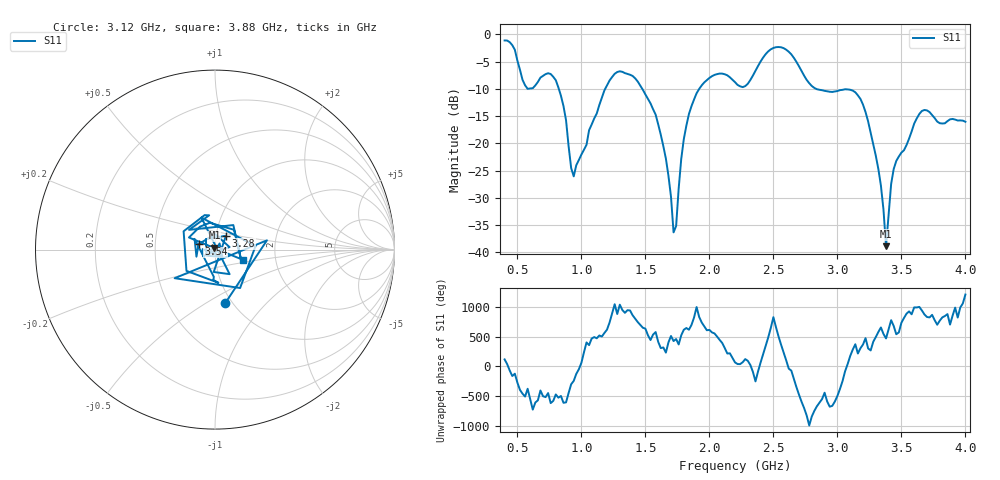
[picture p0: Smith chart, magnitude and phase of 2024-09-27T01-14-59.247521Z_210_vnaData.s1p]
!Created with skrf (http://scikit-rf.org).
# Hz S RI R 50.0
!freq ReS11 ImS11
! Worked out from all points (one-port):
!   181 points, 400 MHz to 4 GHz, reference 50 ohm
!   lowest |S11| = -38.8 dB at 3.38 GHz (marker M1), VSWR 1.02, Z = 49.6 + j1.08 ohm
!   |S11| at or under -10 dB: 823.5 MHz to 1.186 GHz (362.3 MHz wide, 36.1 % of centre); 1.476 GHz to 1.921 GHz (445 MHz wide, 26.2 % of centre); 2.834 GHz to end of sweep
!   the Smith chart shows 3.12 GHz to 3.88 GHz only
!   S11 on the Smith chart (normalised r, x): 3.12 GHz: 0.93, -0.61; 3.28 GHz: 1.12, +0.17; 3.54 GHz: 0.83, +0.05; 3.88 GHz: 1.36, -0.16
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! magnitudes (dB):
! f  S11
! 400 MHz  -1.1
! 580 MHz  -10.0
! 760 MHz  -7.3
! 860 MHz  -13.2
! 940 MHz  -26.0
! 1.18 GHz  -10.3
! 1.3 GHz  -6.8
! 1.58 GHz  -14.7
! 1.66 GHz  -22.8
! 1.72 GHz  -36.3
! 1.76 GHz  -28.3
! 1.8 GHz  -19.2
! 1.9 GHz  -10.8
! 2.2 GHz  -8.8
! 2.5 GHz  -2.5
! 2.66 GHz  -4.3
! 2.82 GHz  -9.8
! 3.1 GHz  -10.2
! 3.12 GHz  -10.3
! 3.28 GHz  -20.1
! 3.34 GHz  -27.7
! 3.38 GHz  -38.8
! 3.44 GHz  -24.7
! 3.54 GHz  -20.3
! 3.56 GHz  -19.1
! 3.66 GHz  -14.1
! 3.88 GHz  -15.6
! 4 GHz  -16.0
